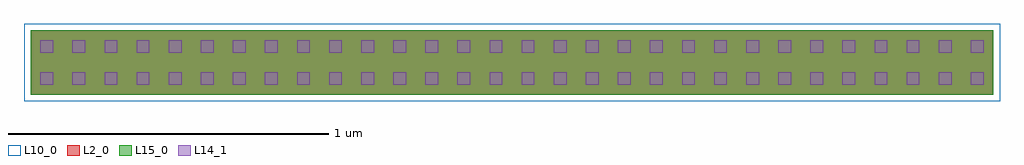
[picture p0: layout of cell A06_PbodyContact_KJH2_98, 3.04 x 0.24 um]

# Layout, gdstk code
import gdstk
lib = gdstk.Library(unit=1e-6, precision=1e-09)
def R(c, l, rs):  # rectangles x0, y0, x1, y1
    for r in rs: c.add(gdstk.rectangle(r[:2], r[2:], *l))
def A(c, l, x, y, w, h, nx, ny, dx, dy):  # array of equal rectangles
    R(c, l, [(x+i*dx, y+j*dy, x+i*dx+w, y+j*dy+h) for i in range(nx) for j in range(ny)])
L2_0 = (2, 0)
L10_0 = (10, 0)
L14_1 = (14, 1)
L15_0 = (15, 0)

a06_pbodycontact_kjh2_98 = lib.new_cell('A06_PbodyContact_KJH2_98')
R(a06_pbodycontact_kjh2_98, L2_0, [(-0.03,-0.13,2.97,0.07)])
R(a06_pbodycontact_kjh2_98, L10_0, [(-0.051,-0.151,2.991,0.091)])
A(a06_pbodycontact_kjh2_98, L14_1, 0, -0.1, 0.04, 0.04, 30, 2, 0.1, 0.1)
R(a06_pbodycontact_kjh2_98, L15_0, [(-0.03,-0.13,2.97,0.07)])

lib.write_gds('A06_PbodyContact_KJH2_98.gds')
